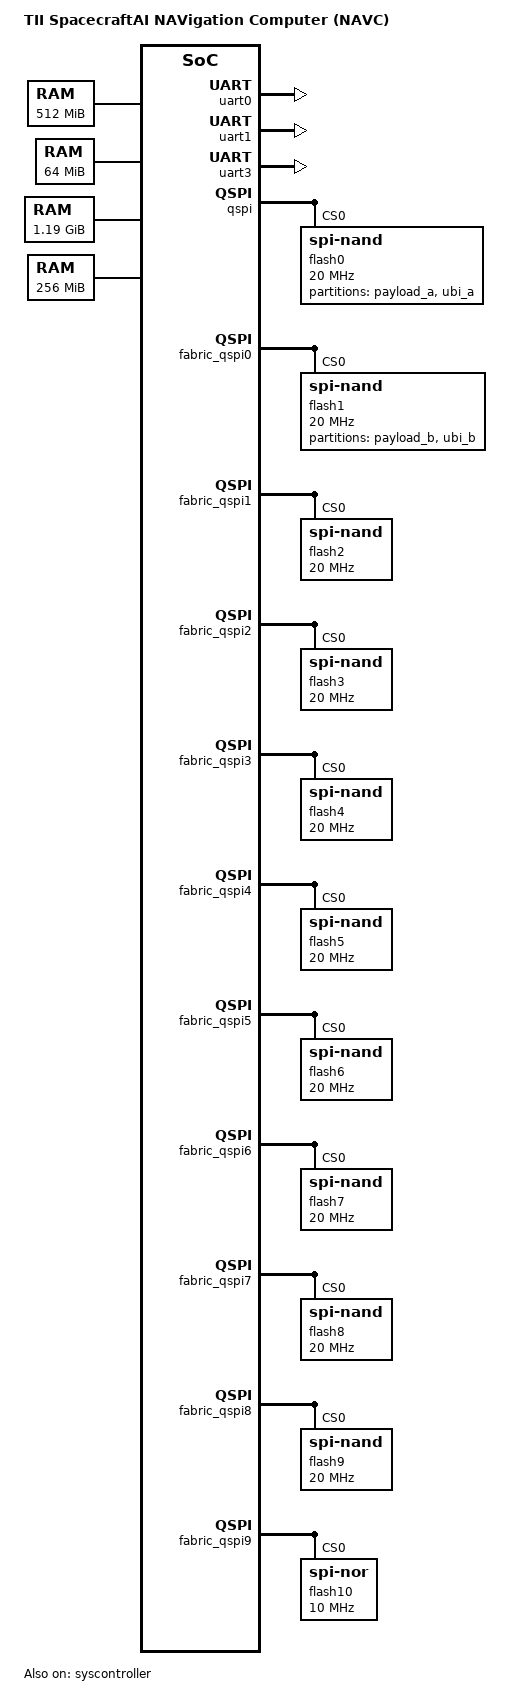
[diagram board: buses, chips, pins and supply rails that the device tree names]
// SPDX-License-Identifier: (GPL-2.0+ OR MIT)
/*
 * Copyright (C) 2021-2022 Microchip Technology Inc.
 * Padmarao Begari <padmarao.begari@microchip.com>
 */

/dts-v1/;

#include "microchip-mpfs.dtsi"
#include "scai-navc-fabric.dtsi"

/* Clock frequency (in Hz) of the rtcclk */
#define RTCCLK_FREQ		1000000

/ {
	model = "TII SpacecraftAI NAVigation Computer (NAVC)";
	compatible = "microchip,mpfs-icicle-reference-rtlv2210",
	             "microchip,mpfs-icicle-kit", "microchip,mpfs";

	aliases {
		serial0 = &uart0;
		ethernet0 = &mac1;
		spi0 = &qspi;
		spi1 = &fabric_qspi0;
		spi2 = &fabric_qspi1;
		spi3 = &fabric_qspi2;
		spi4 = &fabric_qspi3;
		spi5 = &fabric_qspi4;
		spi6 = &fabric_qspi5;
		spi7 = &fabric_qspi6;
		spi8 = &fabric_qspi7;
		spi9 = &fabric_qspi8;
		spi10 = &fabric_qspi9;
	};

	chosen {
		stdout-path = "serial0:1500000n8";
	};

	cpus {
		timebase-frequency = <RTCCLK_FREQ>;
	};

	ddr_cached_low: memory@80000000 {
		device_type = "memory";
		reg = <0x0 0x80000000 0x0 0x20000000>;
		label = "kernel";
	};

	ddr_non_cached_low: memory@c0000000 {
		device_type = "memory";
		reg = <0x0 0xc0000000 0x0 0x4000000>;
		label = "non-cached-low";
	};

	ddr_cached_high: memory@1000000000 {
		device_type = "memory";
		reg = <0x10 0x00000000 0x0 0x4c000000>;
		label = "cached-high";
	};

	ddr_non_cached_high: memory@1400000000 {
		device_type = "memory";
		reg = <0x14 0x00000000 0x0 0x10000000>;
		label = "non-cached-high";
	};

	reserved-memory {
		#address-cells = <2>;
		#size-cells = <2>;
		ranges;

		dma_non_cached_low: non-cached-low-buffer {
			compatible = "shared-dma-pool";
			size = <0x0 0x4000000>;
			no-map;
			linux,dma-default;
			alloc-ranges = <0x0 0xc0000000 0x0 0x4000000>;
			dma-ranges = <0x0 0xc0000000 0x0 0xc0000000 0x0 0x4000000>;
		};

		dma_non_cached_high: non-cached-high-buffer {
			compatible = "shared-dma-pool";
			size = <0x0 0x10000000>;
			no-map;
			linux,dma-default;
			alloc-ranges = <0x14 0x00000000 0x0 0x10000000>;
			dma-ranges = <0x14 0x00000000 0x14 0x00000000 0x0 0x10000000>;
		};

	};

};

&refclk {
	clock-frequency = <100000000>;
};

&uart0 {
	status = "okay";
};

&uart1 {
	status = "okay";
};

&uart3 {
	status = "okay";
};



&i2c1 {
	status = "disabled";
	clock-frequency = <100000>;

	pac193x: pac193x@10 {
		compatible = "microchip,pac1934";
		reg = <0x10>;
		samp-rate = <64>;
		status = "okay";
		ch1: channel0 {
			uohms-shunt-res = <10000>;
			rail-name = "VDDREG";
			channel_enabled;
		};
		ch2: channel1 {
			uohms-shunt-res = <10000>;
			rail-name = "VDDA25";
			channel_enabled;
		};
		ch3: channel2 {
			uohms-shunt-res = <10000>;
			rail-name = "VDD25";
			channel_enabled;
		};
		ch4: channel3 {
			uohms-shunt-res = <10000>;
			rail-name = "VDDA_REG";
			channel_enabled;
		};
	};
};

&mac1 {
	status = "disabled";
	phy-mode = "sgmii";
	phy-handle = <&phy1>;
	phy1: ethernet-phy@9 {
		reg = <9>;
	};
};

&qspi {
	status = "okay";
	num-cs = <1>;

	flash0: flash@0 {
		compatible = "spi-nand";
		reg = <0x0>;
		spi-tx-bus-width = <4>;
		spi-rx-bus-width = <4>;
		spi-max-frequency = <20000000>;
		spi-cpol;
		spi-cpha;

		partitions {
			compatible = "fixed-partitions";
			#address-cells = <1>;
			#size-cells = <1>;

			partition@0 {
				label = "payload_a";
				reg = <0 0x00200000>;
			};
			partition@200000 {
				label = "ubi_a";
				reg = <0x00200000 0x07700000>;
			};
		};
	};
};

&mbox {
	status = "okay";
};

&syscontroller {
	status = "okay";
};

&fabric_qspi0 {
	status = "okay";
	num-cs = <1>;

	flash1: flash@1 {
		compatible = "spi-nand";
		reg = <0x0>;
		spi-tx-bus-width = <4>;
		spi-rx-bus-width = <4>;
		spi-max-frequency = <20000000>;
		spi-cpol;
		spi-cpha;

		partitions {
			compatible = "fixed-partitions";
			#address-cells = <1>;
			#size-cells = <1>;

			partition@0 {
				label = "payload_b";
				reg = <0 0x00200000>;
			};
			partition@200000 {
				label = "ubi_b";
				reg = <0x00200000 0x07700000>;
			};
		};
	};
};

&fabric_qspi1 {
	status = "okay";
	num-cs = <1>;

	flash2: flash@2 {
		compatible = "spi-nand";
		reg = <0x0>;
		spi-tx-bus-width = <4>;
		spi-rx-bus-width = <4>;
		spi-max-frequency = <20000000>;
		spi-cpol;
		spi-cpha;
	};
};

&fabric_qspi2 {
	status = "okay";
	num-cs = <1>;

	flash3: flash@3 {
		compatible = "spi-nand";
		reg = <0x0>;
		spi-tx-bus-width = <4>;
		spi-rx-bus-width = <4>;
		spi-max-frequency = <20000000>;
		spi-cpol;
		spi-cpha;
	};
};

&fabric_qspi3 {
	status = "okay";
	num-cs = <1>;

	flash4: flash@4 {
		compatible = "spi-nand";
		reg = <0x0>;
		spi-tx-bus-width = <4>;
		spi-rx-bus-width = <4>;
		spi-max-frequency = <20000000>;
		spi-cpol;
		spi-cpha;
	};
};

&fabric_qspi4 {
	status = "okay";
	num-cs = <1>;

	flash5: flash@5 {
		compatible = "spi-nand";
		reg = <0x0>;
		spi-tx-bus-width = <4>;
		spi-rx-bus-width = <4>;
		spi-max-frequency = <20000000>;
		spi-cpol;
		spi-cpha;
	};
};

&fabric_qspi5 {
	status = "okay";
	num-cs = <1>;

	flash6: flash@6 {
		compatible = "spi-nand";
		reg = <0x0>;
		spi-tx-bus-width = <4>;
		spi-rx-bus-width = <4>;
		spi-max-frequency = <20000000>;
		spi-cpol;
		spi-cpha;
	};
};

&fabric_qspi6 {
	status = "okay";
	num-cs = <1>;

	flash7: flash@7 {
		compatible = "spi-nand";
		reg = <0x0>;
		spi-tx-bus-width = <4>;
		spi-rx-bus-width = <4>;
		spi-max-frequency = <20000000>;
		spi-cpol;
		spi-cpha;
	};
};

&fabric_qspi7 {
	status = "okay";
	num-cs = <1>;

	flash8: flash@8 {
		compatible = "spi-nand";
		reg = <0x0>;
		spi-tx-bus-width = <4>;
		spi-rx-bus-width = <4>;
		spi-max-frequency = <20000000>;
		spi-cpol;
		spi-cpha;
	};
};

&fabric_qspi8 {
	status = "okay";
	num-cs = <1>;

	flash9: flash@9 {
		compatible = "spi-nand";
		reg = <0x0>;
		spi-tx-bus-width = <4>;
		spi-rx-bus-width = <4>;
		spi-max-frequency = <20000000>;
		spi-cpol;
		spi-cpha;
	};
};

&fabric_qspi9 {
	status = "okay";
	num-cs = <1>;

	flash10: flash@10 {
		compatible = "jedec,spi-nor";
		reg = <0x0>;
		spi-tx-bus-width = <4>;
		spi-rx-bus-width = <4>;
		spi-max-frequency = <10000000>;
		spi-cpol;
		spi-cpha;
	};
};

